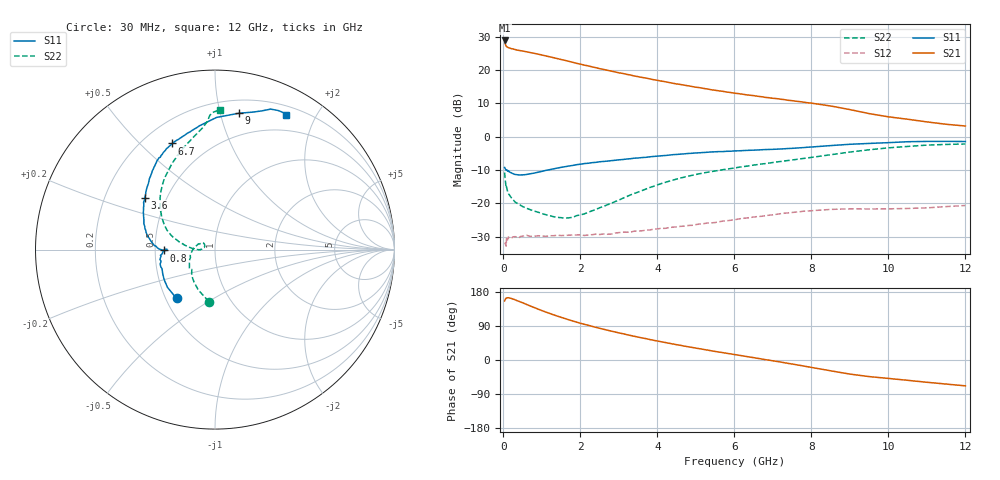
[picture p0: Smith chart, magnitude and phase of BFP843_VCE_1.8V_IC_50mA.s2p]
! Infineon Technologies  Discrete & RF Semiconductors
! BFP843
! VCE =  1.8 V,  IC =  50 mA
! Common Emitter S-Parameters:  Aug 2013
# GHz  S  MA  R  50
!  f  S11  S21  S12  S22
! GHz  MAG  ANG  MAG  ANG  MAG  ANG  MAG  ANG
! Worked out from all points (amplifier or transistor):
!   103 points, 30 MHz to 12 GHz, reference 50 ohm
!   highest |S21| = 28.9 dB at 30 MHz (marker M1)
!   |S21| within 3 dB of that: start of sweep to 409.5 MHz
!   unconditionally stable (mu >= 1): 48.73 MHz to 10.14 GHz
!   at 400 MHz: K = 1.09, MAG = 26.3 dB, |S12| = -30.3 dB
!   at 3.7 GHz: K = 1.42, MAG = 19.0 dB, |S12| = -28.0 dB
!   at 12 GHz: K = 0.83, MSG = 11.9 dB, |S12| = -20.6 dB
!   S11 on the Smith chart (normalised r, x): 30 MHz: 0.57, -0.35; 800 MHz: 0.56, -0.01; 3.6 GHz: 0.38, +0.29; 6.7 GHz: 0.32, +0.63; 9 GHz: 0.31, +1.14; 12 GHz: 0.30, +1.61
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0.03  0.3464 -128.2  27.85 156.0  0.0256 26.9  0.2912 -96.7
0.04  0.3382 -141.6  25.5 158.0  0.0255 18.4  0.2436 -112.5
0.05  0.3289 -149.6  24.3 160.9  0.0245 12.9  0.2141 -123.3
0.07  0.3139 -160.1  22.82 163.1  0.0228 10.5  0.1701 -139.6
0.1  0.3074 -167.8  22.15 164.3  0.0272 16.4  0.1565 -156.1
0.13  0.3028 -172.8  21.75 164.4  0.0315 10.1  0.1426 -166.3
0.6  0.2714 -179.0  18.83 146.7  0.0332 7.5  0.0845 154.7
0.8  0.2848 -179.0  17.87 138.5  0.0321 5.8  0.0765 151.1
1  0.3021 179.9  16.84 130.4  0.0324 7.2  0.0703 150.8
1.3  0.3294 176.7  15.37 119.3  0.0327 7.9  0.0631 155.3
1.7  0.3638 171.8  13.52 106.0  0.0333 10.0  0.0607 165.5
2.1  0.3957 166.0  11.88 94.2  0.033 12.2  0.0695 174.9
2.8  0.4374 155.4  9.657 76.3  0.0346 15.7  0.1002 179.9
3.6  0.4872 143.5  7.754 58.3  0.0388 18.7  0.1558 173.3
4.1  0.5179 136.4  6.845 48.1  0.0423 20.3  0.1982 168.0
5  0.5713 126.5  5.534 31.3  0.048 21.3  0.2713 160.1
6.1  0.6146 117.5  4.442 12.8  0.0582 19.8  0.3472 148.6
6.7  0.6376 111.9  3.99 2.9  0.064 17.0  0.3895 141.8
8.5  0.7366 89.3  2.895 -28.5  0.0812 2.0  0.5372 116.4
9  0.7706 80.2  2.555 -37.2  0.0829 -2.9  0.589 108.0
10.5  0.8419 68.4  1.831 -53.6  0.0839 -11.1  0.7152 93.4
12  0.8483 62.4  1.449 -68.2  0.093 -18.5  0.7786 88.1
